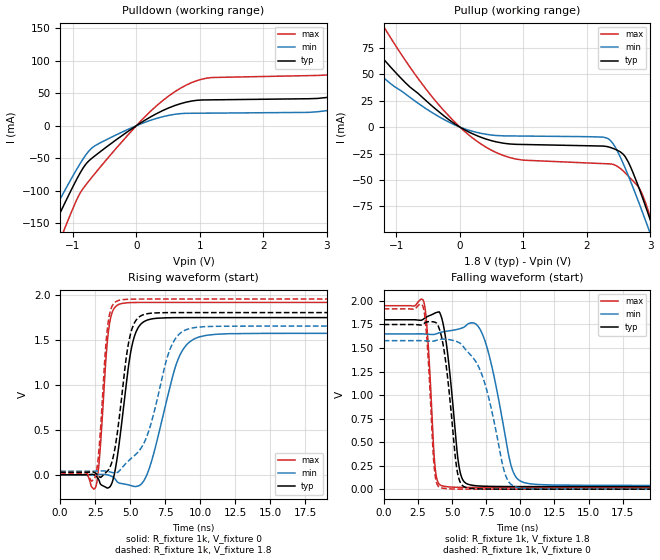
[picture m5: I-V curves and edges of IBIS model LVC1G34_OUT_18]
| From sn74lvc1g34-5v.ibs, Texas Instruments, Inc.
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[Model]   LVC1G34_OUT_18
Model_type  Output
Vref =   0
Rref =   1000
Cref =   30p
Vmeas =   0.9
| variable   typ   min   max
C_comp   9.94pF   6.40pF   16.09pF
| C_pullup   9.15pF   6.40pF   10.36pF
| C_pulldown   10.73pF   6.90pF   16.09pF
[Temperature Range]   40   100   -40
| Ambient temperature   25   85   -40
[Voltage range]   1.8   1.65   1.95
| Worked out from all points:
|   slope of the pulldown table from 0 to 0.27 V, typ, clamps not added: 16.8 ohm
|   slope of the pullup table from 0 to 0.27 V, typ, clamps not added: 33 ohm
|   rising waveform, R_fixture 1k, V_fixture 0: 20-80 % time 864ps typ, 1.55ns min, 501ps max; typ from 0 V to 1.74 V
|   falling waveform, R_fixture 1k, V_fixture 1.8: 20-80 % time 710ps typ, 1.27ns min, 424ps max; typ from 1.8 V to 0.027 V
|   rising waveform, R_fixture 1k, V_fixture 1.8: 20-80 % time 861ps typ, 1.68ns min, 497ps max; typ from 0.027 V to 1.8 V
|   falling waveform, R_fixture 1k, V_fixture 0: 20-80 % time 742ps typ, 1.56ns min, 430ps max; typ from 1.75 V to 0 V
[Pulldown]
| LVC1G34_OUT_18
|   Voltage   I(typ)   I(min)   I(max)
-5.5V     -1.02A     -914.2mA   -1.211A
-1.49V    -194.3mA   -166.1mA   -248.7mA
-1.27V    -148.7mA   -125.7mA   -193.7mA
-1.11V    -116mA     -96.9mA    -154.1mA
-645mV    -45.9mA    -30.54mA   -72.92mA
690mV     33.84mA    18.58mA    57.6mA
3.205V    47.35mA    26.83mA    81.75mA
4.215V    79.09mA    21.52mA    130mA
4.445V    47.14mA    21.65mA    144.9mA
4.62V     44.43mA    21.75mA    152.8mA
5.01V     44.71mA    21.98mA    83.26mA
11V       50.71mA    25.31mA    93.17mA
[Pullup]
| LVC1G34_OUT_18
|   Voltage   I(typ)   I(min)   I(max)
-5.5V     449.7mA    254mA      638.5mA
-2.225V   143.3mA    107.6mA    207.3mA
-1.755V   105.1mA    78.04mA    153.5mA
-1.195V   63.95mA    46.44mA    94.81mA
-375mV    16.75mA    11.48mA    24.15mA
420mV     -11.47mA   -6.842mA   -19.31mA
2.34V     -18.75mA   -11.19mA   -34.79mA
2.61V     -28.71mA   -39.94mA   -43.87mA
2.825V    -58.63mA   -72.76mA   -58mA
2.97V     -83.15mA   -96.31mA   -80.03mA
3.12V     -109.8mA   -121.4mA   -108.9mA
11V       -1.703A    -1.583A    -1.935A
[Ramp]
| LVC1G34_OUT_18
| variable   typ   min   max
dV/dt_r   1.13/9.32E-10   1.02/1.66E-09   1.24/5.43E-10
dV/dt_f   1.11/7.59E-10   1.04/1.40E-09   1.20/4.49E-10
R_load = 1k
[Rising Waveform]
| LVC1G34_OUT_18
R_fixture =   1k
C_fixture =   0
L_fixture =   0
V_fixture =   0
V_fixture_min = 0
V_fixture_max = 0
|   Time   V(typ)   V(min)   V(max)
0s        114pV      8.171nV    2.621nV
2.545ns   -12.64mV   1.195mV    -130.6mV
2.81ns    -77.31mV   3.294mV    192.3mV
3.44ns    -145.1mV   -3.399mV   1.584V
4.135ns   259.4mV    -86.27mV   1.887V
5.11ns    1.422V     -122.6mV   1.911V
6.105ns   1.71V      -28.8mV    1.913V
8.29ns    1.744V     1.229V     1.913V
9.515ns   1.744V     1.503V     1.913V
24.99ns   1.744V     1.569V     1.913V
[Falling Waveform]
| LVC1G34_OUT_18
R_fixture =   1k
C_fixture =   0
L_fixture =   0
V_fixture =   1.8
V_fixture_min = 1.65
V_fixture_max = 1.95
|   Time   V(typ)   V(min)   V(max)
0s        1.8V       1.65V      1.95V
2.95ns    1.812V     1.649V     1.985V
3.735ns   1.87V      1.646V     275.2mV
4.13ns    1.867V     1.665V     44.46mV
4.665ns   1.46V      1.68V      25.6mV
5.49ns    263.1mV    1.702V     19.7mV
6.025ns   62.12mV    1.738V     18.8mV
7.385ns   31.29mV    1.588V     18.28mV
9.98ns    27.56mV    88mV       18.21mV
24.99ns   27.29mV    39.57mV    18.21mV
[Rising Waveform]
| LVC1G34_OUT_18
R_fixture =   1k
C_fixture =   0
L_fixture =   0
V_fixture =   1.8
V_fixture_min = 1.65
V_fixture_max = 1.95
|   Time   V(typ)   V(min)   V(max)
0s        27.26mV    39.51mV    18.19mV
2.52ns    18.66mV    40.47mV    -11.35mV
2.79ns    -19.02mV   42.62mV    318.5mV
3.385ns   42.67mV    37.99mV    1.642V
4.025ns   407.2mV    21.92mV    1.925V
4.93ns    1.502V     162.3mV    1.948V
5.86ns    1.772V     316.6mV    1.95V
7.8ns     1.799V     1.378V     1.95V
8.93ns    1.8V       1.606V     1.95V
24.99ns   1.8V       1.65V      1.95V
[Falling Waveform]
| LVC1G34_OUT_18
R_fixture =   1k
C_fixture =   0
L_fixture =   0
V_fixture =   0
V_fixture_min = 0
V_fixture_max = 0
|   Time   V(typ)   V(min)   V(max)
0s        1.749V     1.578V     1.916V
2.88ns    1.754V     1.578V     1.938V
3.195ns   1.778V     1.575V     1.526V
3.695ns   1.776V     1.575V     236.6mV
4.1ns     1.691V     1.591V     19.56mV
5.35ns    219.7mV    1.568V     1.215mV
5.885ns   26.01mV    1.504V     465.9uV
7.22ns    2.238mV    1.205V     65.55uV
9.49ns    190uV      33.71mV    18.86uV
24.99ns   22.59uV    47.78uV    11.93uV
